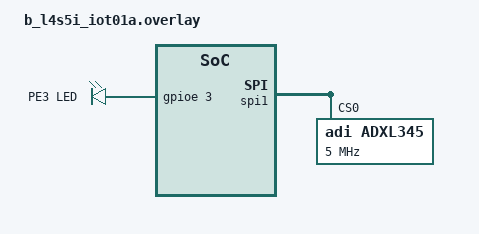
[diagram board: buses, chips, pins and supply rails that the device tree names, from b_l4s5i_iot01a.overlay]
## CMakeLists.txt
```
cmake_minimum_required(VERSION 3.20.0)

find_package(Zephyr REQUIRED HINTS $ENV{ZEPHYR_BASE})
project(app_test1)

target_sources(app PRIVATE src/main.c)
```

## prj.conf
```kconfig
CONFIG_SERIAL=y
CONFIG_UART_INTERRUPT_DRIVEN=y 
CONFIG_CONSOLE=y
CONFIG_PRINTK=y
CONFIG_GPIO=y

#/*event相關*/
CONFIG_EVENTS=y
```

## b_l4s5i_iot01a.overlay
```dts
/* app.overlay */

/*按鈕sw0已經預設與命名*/

/ {
	aliases {
		led1 = &green_led_2;
		led2 = &pe3_led;
	};

	leds {
		compatible = "gpio-leds";

		pe3_led: pe3_led {
			gpios = <&gpioe 3 GPIO_ACTIVE_HIGH>;
			label = "PE3 LED";
		};
	};
};

&spi1 {
	status = "okay";

	/* 如果你的板子原本沒有幫 spi1 定義 cs-gpios，就要自己補上 */
	/* 下面這行的 GPIO 腳位請依你的實際接線修改 */
	/* cs-gpios = <&gpioa 4 GPIO_ACTIVE_LOW>; */

	adxl345: adxl345@0 {
		compatible = "adi,adxl345";
		reg = <0>;
		spi-max-frequency = <5000000>;
	};
};
```

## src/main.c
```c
#include <zephyr/kernel.h>
#include <zephyr/device.h>
#include <zephyr/drivers/gpio.h>
#include <zephyr/sys/printk.h>
#include <zephyr/drivers/uart.h>

/*功能:按鈕讓count++，再透過uart輸入讓count--。重點:uart、interrupt(gpio)、event、multithread*/

//定義event
#define EVENT_BUTTON_PRESS BIT(0)
#define EVENT_UART_DEC     BIT(1)

/*按鈕防呆*/
#if !DT_NODE_HAS_STATUS(DT_ALIAS(sw0), okay)
#error "This board does not have a sw0 alias in devicetree."
#endif

static struct k_event system_events; //定義event功能
static volatile int Count = 0;

static const struct gpio_dt_spec button = GPIO_DT_SPEC_GET(DT_ALIAS(sw0), gpios);//從DTS取出gpio的硬體位置(按鈕)

static struct gpio_callback button_cb;//定義中斷callback

K_MSGQ_DEFINE(uart_msg, sizeof(char), 10, 4); //定義UART傳輸時，Queue的大小
const struct device *uart_dev = DEVICE_DT_GET(DT_CHOSEN(zephyr_console));//UART根據DTS取dev的指標

/* UART RX callback */
static void serial_cb(const struct device *dev, void *user_data)
{
	ARG_UNUSED(user_data);
	//UART確認硬體是否有資料要傳出來
	if (!uart_irq_update(dev)) { 
		return;
	}

	if (!uart_irq_rx_ready(dev)) {
		return;
	}

	uint8_t c;
	while (uart_fifo_read(dev, &c, 1) == 1) {  //從硬體取出1筆資料
		k_msgq_put(&uart_msg, &c, K_NO_WAIT);	//將資料放入queue
	}
}

/* Button ISR: sw0 按下時 Count++ */
static void button_isr(const struct device *dev,
		       struct gpio_callback *cb,
		       uint32_t pins)
{
	ARG_UNUSED(dev);
	ARG_UNUSED(cb);
	ARG_UNUSED(pins);

	Count++;
	k_event_post(&system_events, EVENT_BUTTON_PRESS);//公布目前持行的event是interuppt
}

/* 獨立 thread：通知現在執行的event */
void logic_thread(void *arg1, void *arg2, void *arg3)
{
	ARG_UNUSED(arg1);
	ARG_UNUSED(arg2);
	ARG_UNUSED(arg3);

	while (1) {
		uint32_t events = k_event_wait(&system_events,
					       EVENT_BUTTON_PRESS | EVENT_UART_DEC,
					       true,
					       K_FOREVER);//等待指定event

		if (events & EVENT_BUTTON_PRESS) {
			printk("[BUTTON] Count = %d\n", Count);
		}

		if (events & EVENT_UART_DEC) {
			printk("[UART] Count = %d\n", Count);
		}
	}
}

K_THREAD_DEFINE(logic_tid, 1024, logic_thread, NULL, NULL, NULL, 5, 0, 0);	//靜態定義thread，等效於K_THREAD_STACK_DEFINE->struct k_thread->k_thread_create

int main(void)
{
	int ret;
	char recv_char;

	printk("System start\n");
	printk("Press sw0 -> Count++\n");
	printk("Type '1' in UART -> Count--\n");

	k_event_init(&system_events);

	/* GPIO初始化確認*/
	if (!gpio_is_ready_dt(&button)) {//確認gpio是否可用
		printk("Error: button device is not ready\n");
		return -ENODEV;
	}

	ret = gpio_pin_configure_dt(&button, GPIO_INPUT); //設定觸發的輸入輸出
	if (ret != 0) {
		printk("Error %d: failed to configure button pin\n", ret);
		return ret;
	}

	/*按鈕中斷確認*/
	ret = gpio_pin_interrupt_configure_dt(&button, GPIO_INT_EDGE_TO_ACTIVE);//設定是否為正負緣觸發
	if (ret != 0) {
		printk("Error %d: failed to configure interrupt\n", ret);
		return ret;
	}

	gpio_init_callback(&button_cb, button_isr, BIT(button.pin)); //初始化GPIO中斷觸發

	ret = gpio_add_callback(button.port, &button_cb);//將GPIO中斷與ISR註冊
	if (ret != 0) {
		printk("Error %d: failed to add callback\n", ret);
		return ret;
	}

	/* UART初始化確認 */
	if (!device_is_ready(uart_dev)) {
		printk("UART device not ready\n");
		return -ENODEV;
	}

	ret = uart_irq_callback_user_data_set(uart_dev, serial_cb, NULL);
	if (ret < 0) {
		printk("Failed to set UART callback\n");
		return ret;
	}

	uart_irq_rx_enable(uart_dev);

	while (1) {
		if (k_msgq_get(&uart_msg, &recv_char, K_FOREVER) == 0) { //從queue取一筆資料出來

			if (recv_char == '\r' || recv_char == '\n') {
				continue;
			}

			printk("[Main] Received: %c\n", recv_char);

			if (recv_char == '1') {
				Count--;
				k_event_post(&system_events, EVENT_UART_DEC);//公布目前執行的事件是uart
			}
		}
	}

	return 0;
}
```
